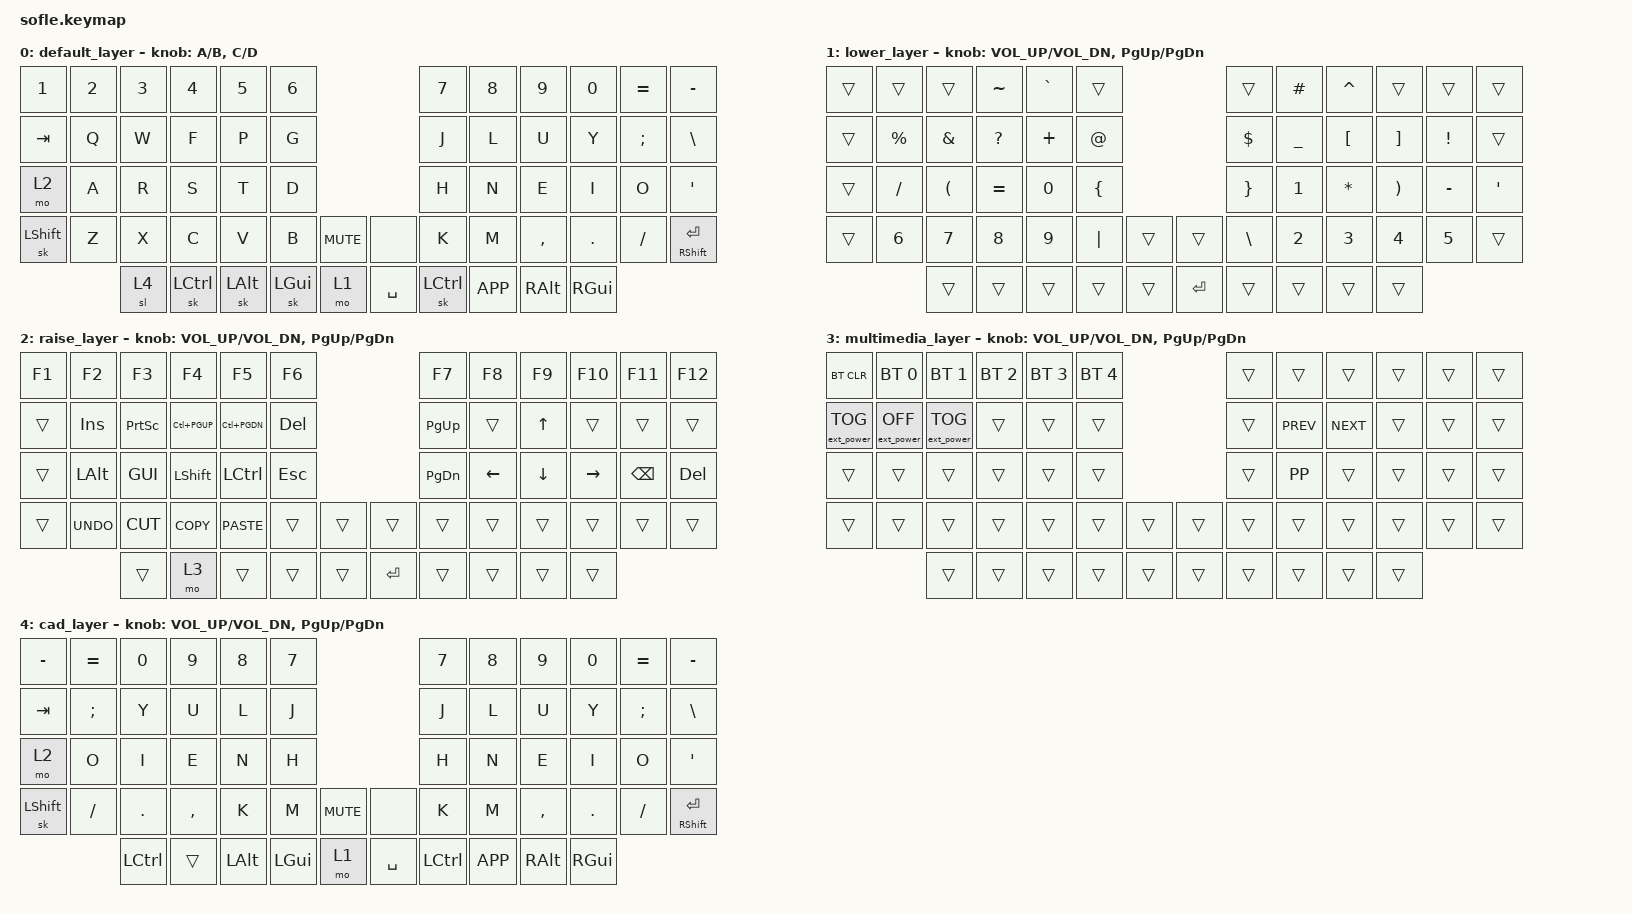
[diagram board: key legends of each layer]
/*
 * Copyright (c) 2020 The ZMK Contributors
 *
 * SPDX-License-Identifier: MIT
 */

#include <behaviors.dtsi>
#include <dt-bindings/zmk/keys.h>
#include <dt-bindings/zmk/bt.h>
#include <dt-bindings/zmk/ext_power.h>


/ {
    keymap {
        compatible = "zmk,keymap";

        default_layer {

            bindings = <

&kp N1 &kp N2   &kp N3   &kp N4    &kp N5    &kp N6                          &kp N7 &kp N8    &kp N9   &kp N0    &kp EQUAL    &kp MINUS
&kp TAB   &kp Q  &kp W    &kp F    &kp P     &kp G                           &kp J  &kp L     &kp U     &kp Y    &kp SEMI     &kp BSLH
&mo 2     &kp A  &kp R    &kp S    &kp T     &kp D                           &kp H  &kp N     &kp E     &kp I    &kp O        &kp SQT
&sk LSHFT &kp Z  &kp X    &kp C    &kp V     &kp B  &kp C_MUTE       &none   &kp K  &kp M     &kp COMMA &kp DOT  &kp FSLH     &mt RSHFT RET
                 &sl 4 &sk LCTRL &sk LALT &sk LGUI  &mo 1    &kp SPACE      &sk LCTRL  &kp K_APP &kp RALT  &kp RGUI

            >;

            sensor-bindings = <&inc_dec_kp A B &inc_dec_kp C D>;
        };

        lower_layer {

            bindings = <

&trans    &trans    &trans      &kp TILDE &kp GRAVE  &trans                    &trans   &kp HASH &kp CARET &trans    &trans &trans
&trans    &kp PRCNT &kp AMPS    &kp QMARK &kp PLUS   &kp AT                    &kp DLLR   &kp UNDER &kp LBKT    &kp RBKT  &kp EXCL  &trans
&trans    &kp FSLH  &kp LPAR    &kp EQUAL &kp N0     &kp LBRC                  &kp RBRC &kp N1  &kp STAR &kp RPAR  &kp MINUS &kp SQT
&trans    &kp N6    &kp N7      &kp N8    &kp N9     &kp PIPE  &trans   &trans &kp BSLH &kp N2  &kp N3     &kp N4  &kp N5     &trans
                    &trans    &trans      &trans     &trans    &trans   &kp RET &trans    &trans   &trans          &trans

            >;

            sensor-bindings = <&inc_dec_kp C_VOL_UP C_VOL_DN &inc_dec_kp PG_UP PG_DN>;
        };

        raise_layer {

            bindings = <

&kp F1     &kp F2     &kp F3       &kp F4       &kp F5       &kp F6                   &kp F7    &kp F8    &kp F9   &kp F10    &kp F11  &kp F12
&trans     &kp INS      &kp PSCRN  &kp LC(PGUP)  &kp LC(PGDN) &kp DEL                 &kp PG_UP &trans    &kp UP   &trans     &trans   &trans
&trans     &kp LALT     &kp GUI    &kp LSHFT    &kp LCTRL    &kp ESC                  &kp PG_DN &kp LEFT  &kp DOWN &kp RIGHT  &kp BSPC &kp DEL
&trans     &kp K_UNDO   &kp K_CUT    &kp K_COPY   &kp K_PASTE  &trans  &trans   &trans  &trans    &trans    &trans   &trans    &trans  &trans
                        &trans       &mo 3       &trans       &trans  &trans   &kp RET  &trans    &trans    &trans   &trans

            >;

            sensor-bindings = <&inc_dec_kp C_VOL_UP C_VOL_DN &inc_dec_kp PG_UP PG_DN>;
        };

        multimedia_layer {
            bindings = <
&bt BT_CLR &bt BT_SEL 0 &bt BT_SEL 1 &bt BT_SEL 2 &bt BT_SEL 3 &bt BT_SEL 4             &trans    &trans    &trans   &trans    &trans  &trans
&ext_power EP_TOG     &ext_power EP_OFF       &ext_power EP_TOG       &trans       &trans       &trans                   &trans    &kp K_PREV    &kp K_NEXT   &trans    &trans  &trans
&trans     &trans       &trans       &trans       &trans       &trans                   &trans    &kp K_PP    &trans   &trans    &trans  &trans
&trans     &trans       &trans       &trans       &trans       &trans  &trans   &trans  &trans    &trans    &trans   &trans    &trans  &trans
                        &trans       &trans       &trans       &trans  &trans   &trans  &trans    &trans    &trans   &trans
            >;

            sensor-bindings = <&inc_dec_kp C_VOL_UP C_VOL_DN &inc_dec_kp PG_UP PG_DN>;
        };
        
        cad_layer {

            bindings = <

&kp MINUS &kp EQUAL   &kp N0   &kp N9   &kp N8    &kp N7                            &kp N7 &kp N8    &kp N9   &kp N0    &kp EQUAL    &kp MINUS
&kp TAB   &kp SEMI    &kp Y    &kp U    &kp L     &kp J                             &kp J  &kp L     &kp U     &kp Y    &kp SEMI     &kp BSLH
&mo 2     &kp O       &kp I    &kp E    &kp N     &kp H                             &kp H  &kp N     &kp E     &kp I    &kp O        &kp SQT
&sk LSHFT &kp FSLH  &kp DOT    &kp COMMA    &kp K     &kp M  &kp C_MUTE    &none  &kp K  &kp M     &kp COMMA &kp DOT  &kp FSLH     &mt RSHFT RET
                 &kp LCTRL &trans &kp LALT &kp LGUI  &mo 1    &kp SPACE &kp LCTRL  &kp K_APP &kp RALT  &kp RGUI

            >;

            sensor-bindings = <&inc_dec_kp C_VOL_UP C_VOL_DN &inc_dec_kp PG_UP PG_DN>;
        };

    };
};
